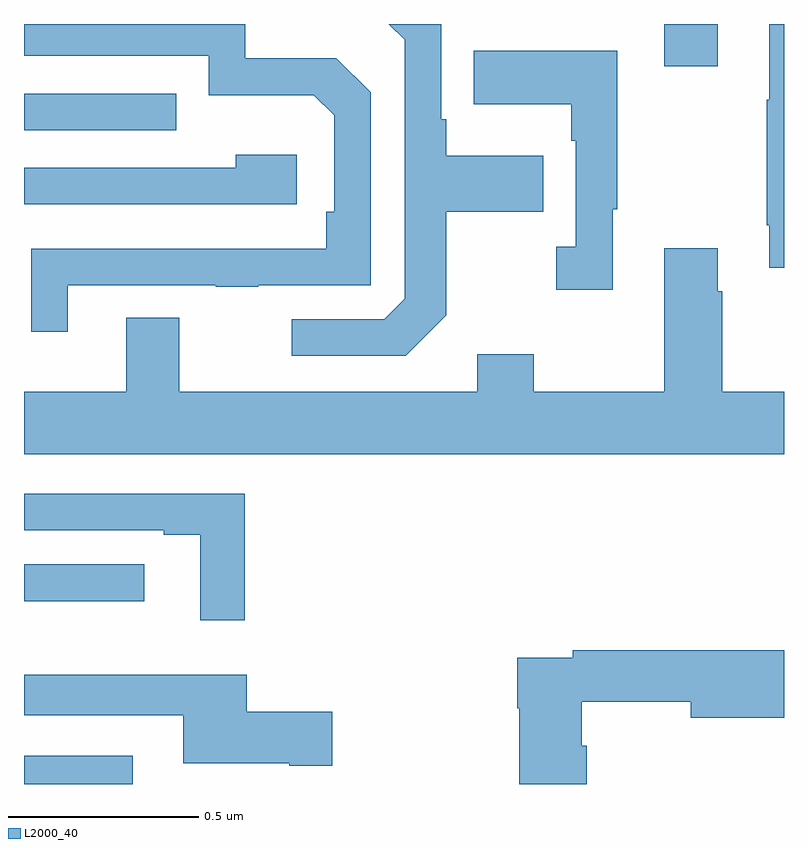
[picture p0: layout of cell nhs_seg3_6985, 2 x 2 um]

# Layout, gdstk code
import gdstk
lib = gdstk.Library(unit=1e-6, precision=1e-09)
def R(c, l, rs):  # rectangles x0, y0, x1, y1
    for r in rs: c.add(gdstk.rectangle(r[:2], r[2:], *l))
def P(c, l, *ps):  # polygons
    for p in ps: c.add(gdstk.Polygon(p, *l))
L2000_40 = (2000, 40)

nhs_seg3_6985 = lib.new_cell('nhs_seg3_6985')
R(nhs_seg3_6985, L2000_40, [(198,681.4,198.286,681.474), (198,681.881,198.316,681.978), (198,683.121,198.401,683.217), (199.685,683.289,199.825,683.4)])
P(nhs_seg3_6985, L2000_40, [(199.111,682.633),(199.111,682.906),(199.367,682.906),(199.367,683.053),(199.111,683.053),(199.111,683.149),(199.098,683.149),(199.098,683.4),(198.96,683.4),(199.002,683.358),(199.002,682.677),(198.948,682.623),(198.705,682.623),(198.705,682.527),(199.005,682.527)],
  [(200,683.4),(199.961,683.4),(199.961,683.201),(199.954,683.201),(199.954,682.87),(199.961,682.87),(199.961,682.758),(200,682.758)],
  [(198.115,682.713),(198.505,682.713),(198.505,682.708),(198.617,682.708),(198.617,682.713),(198.912,682.713),(198.912,683.22),(198.822,683.31),(198.582,683.31),(198.582,683.4),(198,683.4),(198,683.316),(198.486,683.316),(198.486,683.213),(198.763,683.213),(198.816,683.16),(198.816,682.906),(198.796,682.906),(198.796,682.809),(198.121,682.809),(198.121,682.808),(198.019,682.808),(198.019,682.59),(198.115,682.59)],
  [(199.549,682.913),(199.561,682.913),(199.561,683.329),(199.183,683.329),(199.183,683.189),(199.44,683.189),(199.44,683.093),(199.452,683.093),(199.452,682.814),(199.401,682.814),(199.401,682.701),(199.549,682.701)],
  [(198.718,683.056),(198.557,683.056),(198.557,683.022),(198,683.022),(198,682.926),(198.718,682.926)],
  [(200,682.432),(199.838,682.432),(199.838,682.697),(199.825,682.697),(199.825,682.81),(199.685,682.81),(199.685,682.432),(199.341,682.432),(199.341,682.531),(199.193,682.531),(199.193,682.432),(198.409,682.432),(198.409,682.627),(198.269,682.627),(198.269,682.432),(198,682.432),(198,682.268),(200,682.268)],
  [(198.581,682.164),(198,682.164),(198,682.068),(198.368,682.068),(198.368,682.056),(198.464,682.056),(198.464,681.831),(198.581,681.831)],
  [(199.481,681.501),(199.468,681.501),(199.468,681.616),(199.754,681.616),(199.754,681.574),(200,681.574),(200,681.752),(199.444,681.752),(199.444,681.732),(199.298,681.732),(199.298,681.599),(199.303,681.599),(199.303,681.4),(199.481,681.4)],
  [(198.811,681.59),(198.586,681.59),(198.586,681.688),(198,681.688),(198,681.581),(198.419,681.581),(198.419,681.455),(198.698,681.455),(198.698,681.448),(198.811,681.448)])

lib.write_gds('nhs_seg3_6985.gds')
